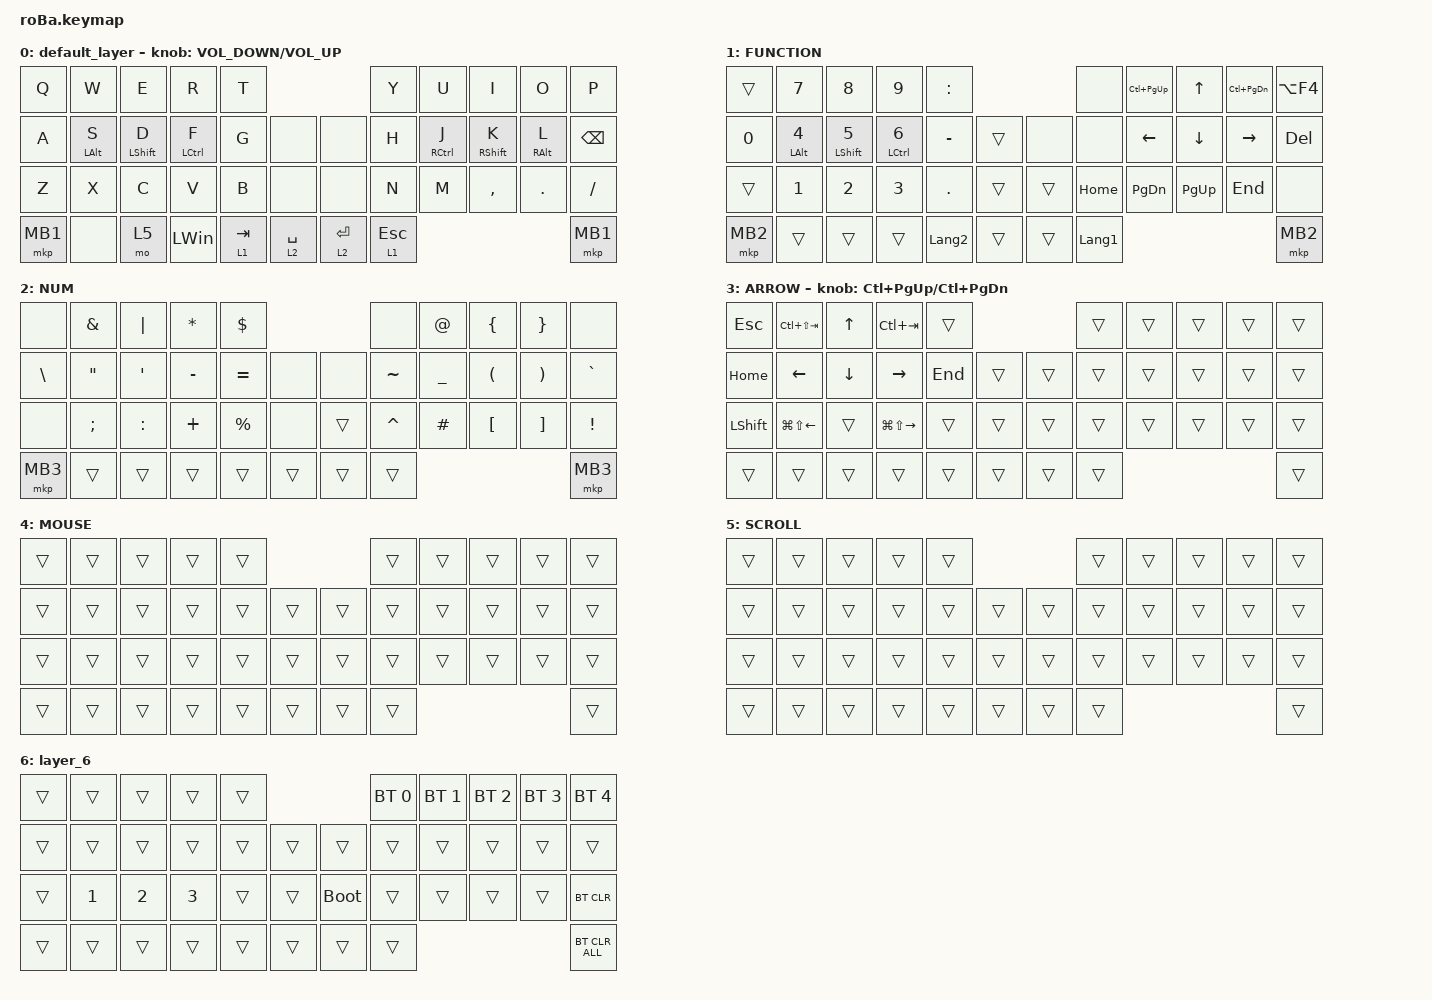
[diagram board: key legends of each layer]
#include <behaviors.dtsi>
#include <dt-bindings/zmk/bt.h>
#include <dt-bindings/zmk/keys.h>
#include <dt-bindings/zmk/pointing.h>

&mt {
    flavor = "balanced";
    quick-tap-ms = <200>;
};

&trackball {
    automouse-layer = <4>;
    scroll-layers = <5>;

    // arrows {
    //     layers = <3>;
    //     bindings =
    //         <&kp RIGHT_ARROW>,
    //         <&kp LEFT_ARROW>,
    //         <&kp UP_ARROW>,
    //         <&kp DOWN_ARROW>;

    //     tick = <10>;
    //     wait-ms = <5>;
    //     tap-ms = <5>;
    // };
};

/ {
    combos {
        compatible = "zmk,combos";

        tab {
            bindings = <&kp TAB>;
            key-positions = <11 12>;
        };

        shift_tab {
            bindings = <&kp LS(TAB)>;
            key-positions = <12 13>;
        };

        muhennkann {
            bindings = <&to_layer_0 INT_MUHENKAN>;
            key-positions = <11 10>;
        };

        double_quotation {
            bindings = <&kp DOUBLE_QUOTES>;
            key-positions = <20 21>;
        };

        eq {
            bindings = <&kp EQUAL>;
            key-positions = <24 25>;
        };
    };

    macros {
        to_layer_0: to_layer_0 {
            compatible = "zmk,behavior-macro-one-param";
            #binding-cells = <1>;
            bindings = <&to 0 &macro_param_1to1 &kp MACRO_PLACEHOLDER>;
            label = "TO_LAYER_0";
        };
    };

    behaviors {
        lt_to_layer_0: lt_to_layer_0 {
            compatible = "zmk,behavior-hold-tap";
            label = "LAYER_TAP_TO_0";
            bindings = <&mo>, <&to_layer_0>;

            #binding-cells = <2>;
            tapping-term-ms = <200>;
        };
    };

    keymap {
        compatible = "zmk,keymap";

        default_layer {
            bindings = <
&kp Q     &kp W           &kp E             &kp R         &kp T                                    &kp Y         &kp U        &kp I              &kp O            &kp P
&kp A     &mt LEFT_ALT S  &mt LEFT_SHIFT D  &mt LCTRL F   &kp G      &none            &none        &kp H         &mt RCTRL J  &mt RIGHT_SHIFT K  &mt RIGHT_ALT L  &kp BACKSPACE
&kp Z     &kp X           &kp C             &kp V         &kp B      &none            &none        &kp N         &kp M        &kp COMMA          &kp DOT          &kp SLASH
&mkp MB1  &none           &mo 5             &kp LEFT_WIN  &lt 1 TAB  &lt 2 SPACE      &lt 2 ENTER  &lt 1 ESCAPE                                                   &mkp MB1
            >;

            sensor-bindings = <&inc_dec_kp C_VOLUME_DOWN C_VOL_UP>;
        };

        FUNCTION {
            bindings = <
&trans        &kp NUMBER_7           &kp NUMBER_8             &kp NUMBER_9               &kp COLON                           &none           &kp LC(PAGE_UP)  &kp UP_ARROW    &kp LC(PAGE_DOWN)  &kp LA(F4)
&kp NUMBER_0  &mt LEFT_ALT NUMBER_4  &mt LEFT_SHIFT NUMBER_5  &mt LEFT_CONTROL NUMBER_6  &kp MINUS       &trans      &none   &none           &kp LEFT_ARROW   &kp DOWN_ARROW  &kp RIGHT_ARROW    &kp DELETE
&trans        &kp NUMBER_1           &kp NUMBER_2             &kp NUMBER_3               &kp PERIOD      &trans      &trans  &kp HOME        &kp PAGE_DOWN    &kp PAGE_UP     &kp END            &none
&mkp MB2      &trans                 &trans                   &trans                     &kp LANGUAGE_2  &trans      &trans  &kp LANGUAGE_1                                                      &mkp MB2
            >;
        };

        NUM {
            bindings = <
&none          &kp AMPERSAND      &kp PIPE   &kp ASTERISK  &kp DOLLAR                       &none      &kp AT_SIGN     &kp LEFT_BRACE        &kp RIGHT_BRACE        &none
&kp BACKSLASH  &kp DOUBLE_QUOTES  &kp SQT    &kp MINUS     &kp EQUAL    &none       &none   &kp TILDE  &kp UNDERSCORE  &kp LEFT_PARENTHESIS  &kp RIGHT_PARENTHESIS  &kp GRAVE
&none          &kp SEMICOLON      &kp COLON  &kp PLUS      &kp PERCENT  &none       &trans  &kp CARET  &kp HASH        &kp LEFT_BRACKET      &kp RIGHT_BRACKET      &kp EXCLAMATION
&mkp MB3       &trans             &trans     &trans        &trans       &trans      &trans  &trans                                                                  &mkp MB3
            >;
        };

        ARROW {
            bindings = <
&kp ESCAPE      &kp LC(LS(TAB))         &kp UP_ARROW    &kp LC(TAB)              &trans                       &trans  &trans  &trans  &trans  &trans
&kp HOME        &kp LEFT_ARROW          &kp DOWN_ARROW  &kp RIGHT_ARROW          &kp END  &trans      &trans  &trans  &trans  &trans  &trans  &trans
&kp LEFT_SHIFT  &kp LG(LS(LEFT_ARROW))  &trans          &kp LG(LS(RIGHT_ARROW))  &trans   &trans      &trans  &trans  &trans  &trans  &trans  &trans
&trans          &trans                  &trans          &trans                   &trans   &trans      &trans  &trans                          &trans
            >;

            sensor-bindings = <&inc_dec_kp LC(PAGE_UP) LC(PAGE_DOWN)>;
        };

        MOUSE {
            bindings = <
&trans  &trans  &trans  &trans  &trans                      &trans  &trans  &trans  &trans  &trans
&trans  &trans  &trans  &trans  &trans  &trans      &trans  &trans  &trans  &trans  &trans  &trans
&trans  &trans  &trans  &trans  &trans  &trans      &trans  &trans  &trans  &trans  &trans  &trans
&trans  &trans  &trans  &trans  &trans  &trans      &trans  &trans                          &trans
            >;
        };

        SCROLL {
            bindings = <
&trans  &trans  &trans  &trans  &trans                      &trans  &trans  &trans  &trans  &trans
&trans  &trans  &trans  &trans  &trans  &trans      &trans  &trans  &trans  &trans  &trans  &trans
&trans  &trans  &trans  &trans  &trans  &trans      &trans  &trans  &trans  &trans  &trans  &trans
&trans  &trans  &trans  &trans  &trans  &trans      &trans  &trans                          &trans
            >;
        };

        layer_6 {
            bindings = <
&trans  &trans        &trans        &trans        &trans                           &bt BT_SEL 0  &bt BT_SEL 1  &bt BT_SEL 2  &bt BT_SEL 3  &bt BT_SEL 4
&trans  &trans        &trans        &trans        &trans  &trans      &trans       &trans        &trans        &trans        &trans        &trans
&trans  &kp NUMBER_1  &kp NUMBER_2  &kp NUMBER_3  &trans  &trans      &bootloader  &trans        &trans        &trans        &trans        &bt BT_CLR
&trans  &trans        &trans        &trans        &trans  &trans      &trans       &trans                                                  &bt BT_CLR_ALL
            >;
        };
    };
};
